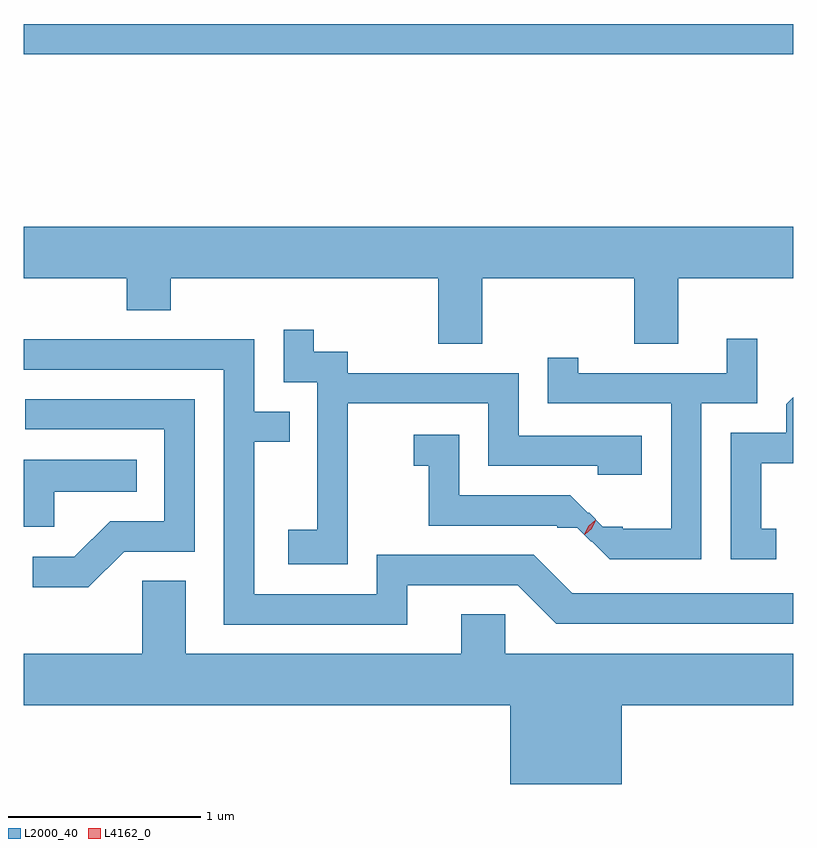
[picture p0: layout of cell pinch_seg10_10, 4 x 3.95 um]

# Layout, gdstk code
import gdstk
lib = gdstk.Library(unit=1e-6, precision=1e-09)
def R(c, l, rs):  # rectangles x0, y0, x1, y1
    for r in rs: c.add(gdstk.rectangle(r[:2], r[2:], *l))
def P(c, l, *ps):  # polygons
    for p in ps: c.add(gdstk.Polygon(p, *l))
L2000_40 = (2000, 40)
L4162_0 = (4162, 0)

pinch_seg10_10 = lib.new_cell('pinch_seg10_10')
R(pinch_seg10_10, L2000_40, [(830.276,2199.441,834.276,2199.599)])
P(pinch_seg10_10, L2000_40, [(832.659,2198.276),(833.451,2198.276),(833.451,2197.936),(833.679,2197.936),(833.679,2198.276),(834.276,2198.276),(834.276,2198.544),(830.276,2198.544),(830.276,2198.276),(830.811,2198.276),(830.811,2198.111),(831.039,2198.111),(831.039,2198.276),(832.431,2198.276),(832.431,2197.936),(832.659,2197.936)],
  [(831.959,2197.626),(832.691,2197.626),(832.691,2197.301),(833.261,2197.301),(833.261,2197.256),(833.489,2197.256),(833.489,2197.459),(832.849,2197.459),(832.849,2197.784),(831.959,2197.784),(831.959,2197.894),(831.784,2197.894),(831.784,2198.008),(831.626,2198.008),(831.626,2197.736),(831.801,2197.736),(831.801,2196.969),(831.651,2196.969),(831.651,2196.791),(831.959,2196.791)],
  [(833.799,2197.626),(834.089,2197.626),(834.089,2197.963),(833.931,2197.963),(833.931,2197.784),(833.159,2197.784),(833.159,2197.863),(833.001,2197.863),(833.001,2197.626),(833.641,2197.626),(833.641,2196.974),(833.39,2196.974),(833.39,2196.986),(833.286,2196.986),(833.214,2197.059),(833.21,2197.055),(833.116,2197.149),(832.539,2197.149),(832.539,2197.464),(832.303,2197.464),(832.303,2197.301),(832.381,2197.301),(832.381,2196.991),(833.05,2196.991),(833.05,2196.979),(833.154,2196.979),(833.227,2196.907),(833.229,2196.909),(833.322,2196.816),(833.799,2196.816)],
  [(832.269,2196.681),(832.844,2196.681),(833.044,2196.481),(834.276,2196.481),(834.276,2196.639),(833.127,2196.639),(832.927,2196.839),(832.111,2196.839),(832.111,2196.634),(831.474,2196.634),(831.474,2197.426),(831.658,2197.426),(831.658,2197.584),(831.474,2197.584),(831.474,2197.959),(830.276,2197.959),(830.276,2197.801),(831.316,2197.801),(831.316,2196.476),(832.269,2196.476)],
  [(834.188,2196.974),(834.109,2196.974),(834.109,2197.316),(834.276,2197.316),(834.276,2197.657),(834.241,2197.622),(834.241,2197.474),(833.951,2197.474),(833.951,2196.816),(834.188,2196.816)],
  [(830.797,2196.856),(831.164,2196.856),(831.164,2197.649),(830.283,2197.649),(830.283,2197.491),(831.006,2197.491),(831.006,2197.014),(830.724,2197.014),(830.539,2196.829),(830.323,2196.829),(830.323,2196.671),(830.612,2196.671)],
  [(830.434,2197.166),(830.863,2197.166),(830.863,2197.334),(830.276,2197.334),(830.276,2196.986),(830.434,2196.986)],
  [(833.384,2196.056),(834.276,2196.056),(834.276,2196.324),(832.779,2196.324),(832.779,2196.529),(832.551,2196.529),(832.551,2196.324),(831.119,2196.324),(831.119,2196.704),(830.891,2196.704),(830.891,2196.324),(830.276,2196.324),(830.276,2196.056),(832.806,2196.056),(832.806,2195.647),(833.384,2195.647)])
P(pinch_seg10_10, L4162_0, [(833.19,2196.944),(833.19,2196.945),(833.212,2196.989),(833.249,2197.021),(833.25,2197.021),(833.25,2197.02),(833.228,2196.976),(833.191,2196.944)],
  [(833.195,2196.947),(833.195,2196.948),(833.214,2196.988),(833.248,2197.015),(833.248,2197.015),(833.248,2197.014),(833.229,2196.975),(833.196,2196.947)])

lib.write_gds('pinch_seg10_10.gds')
